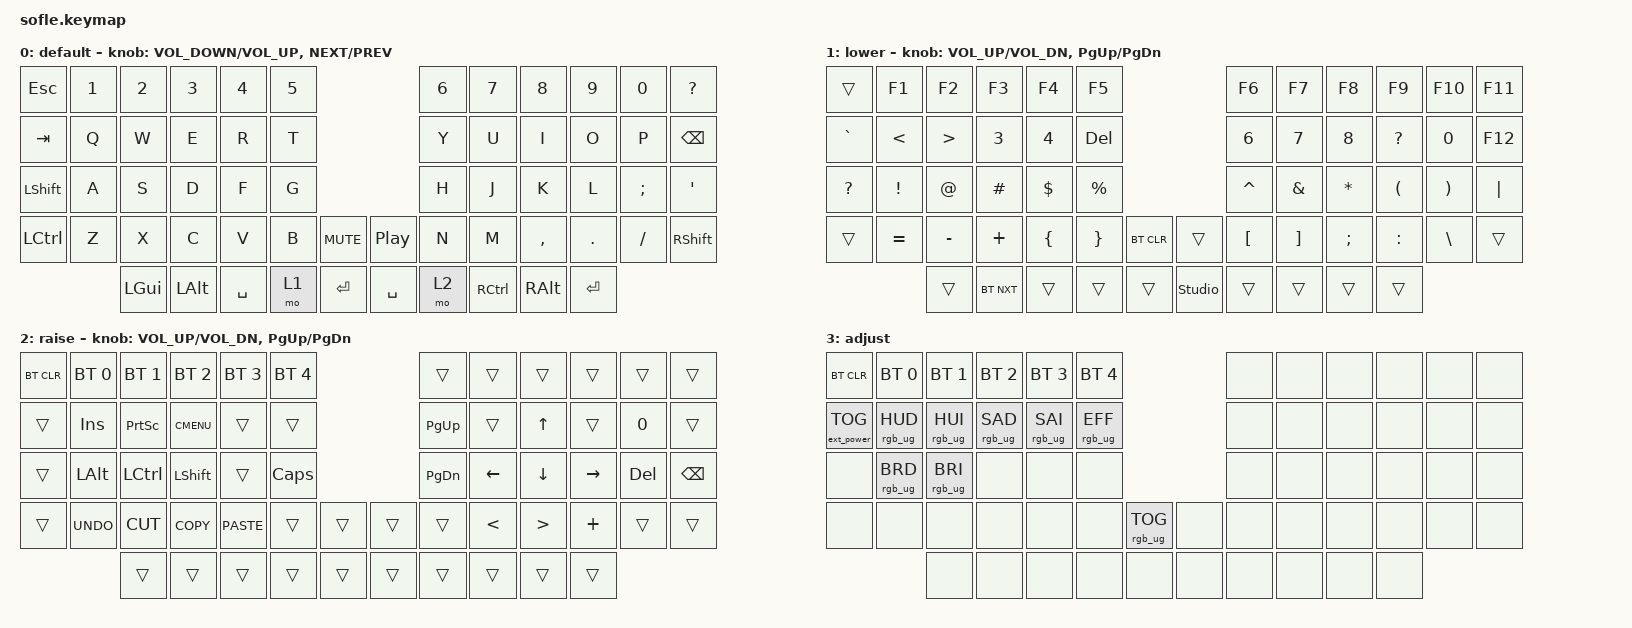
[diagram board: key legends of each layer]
/*
 * Copyright (c) 2020 The ZMK Contributors
 *
 * SPDX-License-Identifier: MIT
 */

#include <behaviors.dtsi>
#include <dt-bindings/zmk/bt.h>
#include <dt-bindings/zmk/ext_power.h>
#include <dt-bindings/zmk/keys.h>
#include <dt-bindings/zmk/rgb.h>

#define BASE 0
#define LOWER 1
#define RAISE 2
#define ADJUST 3

/ {
    // Activate ADJUST layer by pressing raise and lower

    conditional_layers {
        compatible = "zmk,conditional-layers";

        adjust_layer {
            if-layers = <1 2>;
            then-layer = <3>;
        };
    };

    keymap {
        compatible = "zmk,keymap";

        default_layer {
            display-name = "default";

            // ------------------------------------------------------------------------------------------------------------
            // |   ESC   |  1  |  2  |  3   |  4   |  5   |                   |  6   |  7    |  8    |  9   |   0   |       |
            // |  TAB  |  Q  |  W  |  E   |  R   |  T   |                   |  Y   |  U    |  I    |  O   |   P   | BKSPC |
            // |  SHIFT  |  A  |  S  |  D   |  F   |  G   |                   |  H   |  J    |  K    |  L   |   ;   |   '   |
            // | CTRL |  Z  |  X  |  C   |  V   |  B   |  MUTE  |  |       |  N   |  M    |  ,    |  .   |   /   | SHIFT |
            //               | GUI | ALT  | SPACE | LOWER|  ENTER |  | SPACE | RAISE| CTRL  | ALT   | GUI  |

            bindings = <
&kp ESC    &kp N1  &kp N2    &kp N3    &kp N4     &kp N5                                  &kp N6  &kp N7     &kp N8     &kp N9     &kp N0    &kp QUESTION
&kp TAB    &kp Q   &kp W     &kp E     &kp R      &kp T                                   &kp Y   &kp U      &kp I      &kp O      &kp P     &kp BSPC
&kp LSHFT  &kp A   &kp S     &kp D     &kp F      &kp G                                   &kp H   &kp J      &kp K      &kp L      &kp SEMI  &kp SQT
&kp LCTRL  &kp Z   &kp X     &kp C     &kp V      &kp B   &kp C_MUTE    &kp C_PLAY_PAUSE  &kp N   &kp M      &kp COMMA  &kp DOT    &kp FSLH  &kp RSHFT
                   &kp LGUI  &kp LALT  &kp SPACE  &mo 1   &kp RET       &kp SPACE         &mo 2   &kp RCTRL  &kp RALT   &kp ENTER
            >;

            sensor-bindings =
                <&inc_dec_kp C_VOLUME_DOWN C_VOLUME_UP>,
                <&inc_dec_kp C_NEXT C_PREV>;
        };

        lower_layer {
            display-name = "lower";

            // TODO: Some binds are waiting for shifted keycode support.
            // ------------------------------------------------------------------------------------------------------------
            // |       |  F1 |  F2 |  F3  |  F4  |  F5  |                   |  F6  |  F7   |  F8   |  F9  |  F10  |  F11  |
            // |   `   |  1  |  2  |  3   |  4   |  5   |                   |  6   |  7    |  8    |  9   |   0   |  F12  |
            // |OUT_TOG|  !  |  @  |  #   |  $   |  %   |                   |  ^   |  &    |  *    |  (   |   )   |   |   |
            // |       |  =  |  -  |  +   |  {   |  }   |        |  |       |  [   |  ]    |  ;    |  :   |   \   |       |
            //               |     |      |      |      |        |  |studiounlock|      |       |       |      |

            bindings = <
&trans        &kp F1     &kp F2     &kp F3      &kp F4    &kp F5                                   &kp F6     &kp F7    &kp F8     &kp F9     &kp F10   &kp F11
&kp GRAVE     &kp LT     &kp GT     &kp N3      &kp N4    &kp DEL                                  &kp N6     &kp N7    &kp N8     &kp QMARK  &kp N0    &kp F12
&kp QUESTION  &kp EXCL   &kp AT     &kp HASH    &kp DLLR  &kp PRCNT                                &kp CARET  &kp AMPS  &kp ASTRK  &kp LPAR   &kp RPAR  &kp PIPE
&trans        &kp EQUAL  &kp MINUS  &kp PLUS    &kp LBRC  &kp RBRC   &bt BT_CLR    &trans          &kp LBKT   &kp RBKT  &kp SEMI   &kp COLON  &kp BSLH  &trans
                         &trans     &bt BT_NXT  &trans    &trans     &trans        &studio_unlock  &trans     &trans    &trans     &trans
            >;

            sensor-bindings = <&inc_dec_kp C_VOL_UP C_VOL_DN &inc_dec_kp PG_UP PG_DN>;
        };

        raise_layer {
            display-name = "raise";

            // ------------------------------------------------------------------------------------------------------------
            // | BTCLR | BT1  | BT2  |  BT3  |  BT4  |  BT5 |                |      |      |       |      |       |       |
            // |       | INS  | PSCR | GUI   |       |      |                | PGUP |      |   ^   |      |       |       |
            // |       | ALT  | CTRL | SHIFT |       | CAPS |                | PGDN |   <- |   v   |  ->  |  DEL  | BKSPC |
            // |       | UNDO | CUT  | COPY  | PASTE |      |      |  |      |      |      |       |      |       |       |
            //                |      |       |       |      |      |  |      |      |      |       |      |

            bindings = <
&bt BT_CLR  &bt BT_SEL 0  &bt BT_SEL 1  &bt BT_SEL 2  &bt BT_SEL 3  &bt BT_SEL 4                    &trans     &trans         &trans            &trans     &trans   &trans
&trans      &kp INS       &kp PSCRN     &kp K_CMENU   &trans        &trans                          &kp PG_UP  &trans         &kp UP            &trans     &kp N0   &trans
&trans      &kp LALT      &kp LCTRL     &kp LSHFT     &trans        &kp CLCK                        &kp PG_DN  &kp LEFT       &kp DOWN          &kp RIGHT  &kp DEL  &kp BSPC
&trans      &kp K_UNDO    &kp K_CUT     &kp K_COPY    &kp K_PASTE   &trans        &trans    &trans  &trans     &kp LESS_THAN  &kp GREATER_THAN  &kp PLUS   &trans   &trans
                          &trans        &trans        &trans        &trans        &trans    &trans  &trans     &trans         &trans            &trans
            >;

            sensor-bindings = <&inc_dec_kp C_VOL_UP C_VOL_DN &inc_dec_kp PG_UP PG_DN>;
        };

        adjust_layer {
            // ----------------------------------------------------------------------------------------------------------------------------
            // | BTCLR  |  BT1    |  BT2    |   BT3   |   BT4   |   BT5   |                  |      |      |       |      |       |       |
            // | EXTPWR | RGB_HUD | RGB_HUI | RGB_SAD | RGB_SAI | RGB_EFF |                  |      |      |       |      |       |       |
            // |        | RGB_BRD | RGB_BRI |         |         |         |                  |      |      |       |      |       |       |
            // |        |         |         |         |         |         | RGB_TOG | |      |      |      |       |      |       |       |
            //                    |         |         |         |         |         | |      |      |      |       |      |

            display-name = "adjust";
            bindings = <
&bt BT_CLR         &bt BT_SEL 0     &bt BT_SEL 1     &bt BT_SEL 2     &bt BT_SEL 3     &bt BT_SEL 4                               &none  &none  &none  &none  &none  &none
&ext_power EP_TOG  &rgb_ug RGB_HUD  &rgb_ug RGB_HUI  &rgb_ug RGB_SAD  &rgb_ug RGB_SAI  &rgb_ug RGB_EFF                            &none  &none  &none  &none  &none  &none
&none              &rgb_ug RGB_BRD  &rgb_ug RGB_BRI  &none            &none            &none                                      &none  &none  &none  &none  &none  &none
&none              &none            &none            &none            &none            &none            &rgb_ug RGB_TOG    &none  &none  &none  &none  &none  &none  &none
                                    &none            &none            &none            &none            &none              &none  &none  &none  &none  &none
            >;
        };
    };
};
